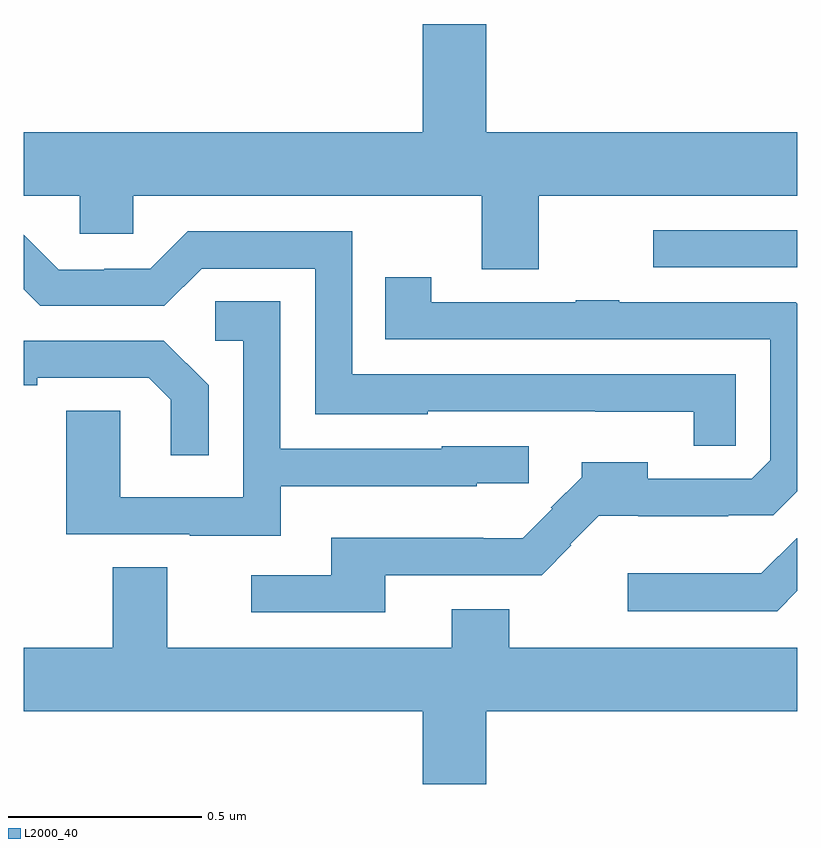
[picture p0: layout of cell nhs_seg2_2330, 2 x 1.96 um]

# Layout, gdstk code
import gdstk
lib = gdstk.Library(unit=1e-6, precision=1e-09)
def R(c, l, rs):  # rectangles x0, y0, x1, y1
    for r in rs: c.add(gdstk.rectangle(r[:2], r[2:], *l))
def P(c, l, *ps):  # polygons
    for p in ps: c.add(gdstk.Polygon(p, *l))
L2000_40 = (2000, 40)

nhs_seg2_2330 = lib.new_cell('nhs_seg2_2330')
R(nhs_seg2_2330, L2000_40, [(141.627,594.171,142,594.267)])
P(nhs_seg2_2330, L2000_40, [(141.331,594.356),(142,594.356),(142,594.52),(141.196,594.52),(141.196,594.8),(141.032,594.8),(141.032,594.52),(140,594.52),(140,594.356),(140.145,594.356),(140.145,594.258),(140.283,594.258),(140.283,594.356),(141.184,594.356),(141.184,594.166),(141.331,594.166)],
  [(141.84,593.895),(140.85,593.895),(140.85,594.264),(140.424,594.264),(140.328,594.168),(140.208,594.168),(140.208,594.165),(140.091,594.165),(140,594.256),(140,594.115),(140.043,594.072),(140.364,594.072),(140.46,594.168),(140.754,594.168),(140.754,593.792),(141.045,593.792),(141.045,593.799),(141.477,593.799),(141.477,593.798),(141.732,593.798),(141.732,593.71),(141.84,593.71)],
  [(140.935,593.376),(141.339,593.376),(141.415,593.453),(141.413,593.455),(141.487,593.529),(141.589,593.529),(141.589,593.528),(141.821,593.528),(141.821,593.53),(141.937,593.53),(142,593.593),(142,594.077),(141.996,594.081),(141.539,594.081),(141.539,594.086),(141.427,594.086),(141.427,594.081),(141.054,594.081),(141.054,594.145),(140.935,594.145),(140.935,593.985),(141.93,593.985),(141.93,593.673),(141.882,593.625),(141.613,593.625),(141.613,593.668),(141.442,593.668),(141.442,593.629),(141.363,593.55),(141.366,593.547),(141.29,593.471),(141.188,593.471),(141.188,593.473),(140.795,593.473),(140.795,593.376),(140.589,593.376),(140.589,593.28),(140.935,593.28)],
  [(140.665,593.606),(141.171,593.606),(141.171,593.613),(141.306,593.613),(141.306,593.709),(141.081,593.709),(141.081,593.703),(140.664,593.703),(140.664,594.083),(140.496,594.083),(140.496,593.982),(140.568,593.982),(140.568,593.577),(140.25,593.577),(140.25,593.801),(140.111,593.801),(140.111,593.481),(140.429,593.481),(140.429,593.477),(140.665,593.477)],
  [(140.478,593.866),(140.362,593.982),(140,593.982),(140,593.866),(140.035,593.866),(140.035,593.886),(140.324,593.886),(140.381,593.829),(140.381,593.685),(140.478,593.685)],
  [(142,593.335),(142,593.471),(141.998,593.471),(141.907,593.38),(141.561,593.38),(141.561,593.283),(141.948,593.283)],
  [(141.196,593.024),(142,593.024),(142,593.188),(141.255,593.188),(141.255,593.287),(141.107,593.287),(141.107,593.188),(140.371,593.188),(140.371,593.396),(140.231,593.396),(140.231,593.188),(140,593.188),(140,593.024),(141.032,593.024),(141.032,592.836),(141.196,592.836)])

lib.write_gds('nhs_seg2_2330.gds')
